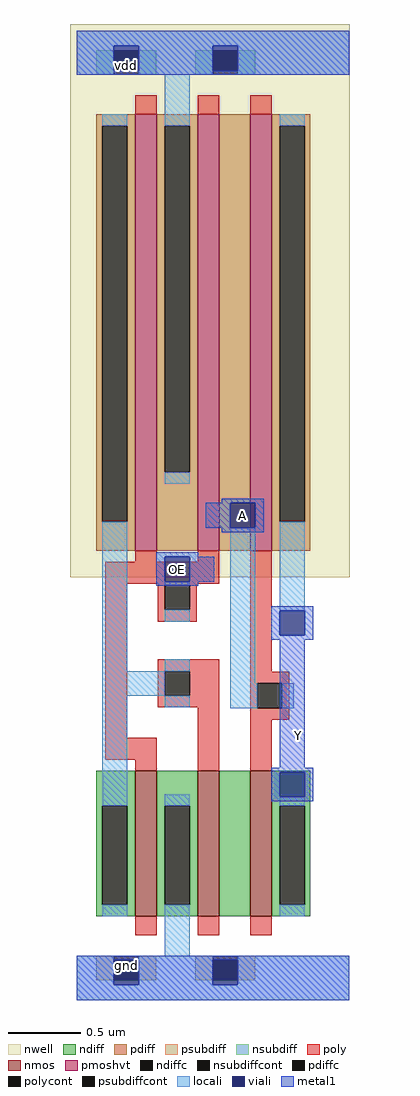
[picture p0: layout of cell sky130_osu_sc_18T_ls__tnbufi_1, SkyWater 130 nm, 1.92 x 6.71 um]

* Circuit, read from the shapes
.subckt sky130_osu_sc_18T_ls__tnbufi_1 Y A OE
XM1 gnd OE n1 gnd sky130_fd_pr__nfet_01v8 w=1 l=0.15
XM2 n2 n1 gnd gnd sky130_fd_pr__nfet_01v8 w=1 l=0.15
XM3 Y A n2 gnd sky130_fd_pr__nfet_01v8 w=1 l=0.15
XM4 vdd OE n1 vdd sky130_fd_pr__pfet_01v8_hvt w=3 l=0.15
XM5 n3 OE vdd vdd sky130_fd_pr__pfet_01v8_hvt w=3 l=0.15
XM6 Y A n3 vdd sky130_fd_pr__pfet_01v8_hvt w=3 l=0.15
.ends

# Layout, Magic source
magic
tech sky130A
magscale 1 2
<< nwell >>
rect -9 581 375 1341
<< nmos >>
rect 80 115 110 315
rect 166 115 196 315
rect 238 115 268 315
<< pmoshvt >>
rect 80 617 110 1217
rect 166 617 196 1217
rect 238 617 268 1217
<< ndiff >>
rect 27 267 80 315
rect 27 131 35 267
rect 69 131 80 267
rect 27 115 80 131
rect 110 267 166 315
rect 110 131 121 267
rect 155 131 166 267
rect 110 115 166 131
rect 196 115 238 315
rect 268 267 321 315
rect 268 131 279 267
rect 313 131 321 267
rect 268 115 321 131
<< pdiff >>
rect 27 1201 80 1217
rect 27 657 35 1201
rect 69 657 80 1201
rect 27 617 80 657
rect 110 1201 166 1217
rect 110 725 121 1201
rect 155 725 166 1201
rect 110 617 166 725
rect 196 617 238 1217
rect 268 1201 321 1217
rect 268 657 279 1201
rect 313 657 321 1201
rect 268 617 321 657
<< ndiffc >>
rect 35 131 69 267
rect 121 131 155 267
rect 279 131 313 267
<< pdiffc >>
rect 35 657 69 1201
rect 121 725 155 1201
rect 279 657 313 1201
<< psubdiff >>
rect 27 27 51 61
rect 85 27 109 61
rect 163 27 187 61
rect 221 27 245 61
<< nsubdiff >>
rect 27 1271 51 1305
rect 85 1271 109 1305
rect 163 1271 187 1305
rect 221 1271 245 1305
<< psubdiffcont >>
rect 51 27 85 61
rect 187 27 221 61
<< nsubdiffcont >>
rect 51 1271 85 1305
rect 187 1271 221 1305
<< poly >>
rect 80 1217 110 1243
rect 166 1217 196 1243
rect 238 1217 268 1243
rect 80 602 110 617
rect 166 602 196 617
rect 39 572 196 602
rect 39 360 69 572
rect 111 570 165 572
rect 111 536 121 570
rect 155 536 165 570
rect 111 520 165 536
rect 111 452 196 468
rect 111 418 121 452
rect 155 418 196 452
rect 111 402 196 418
rect 39 330 110 360
rect 80 315 110 330
rect 166 315 196 402
rect 238 451 268 617
rect 238 435 292 451
rect 238 401 248 435
rect 282 401 292 435
rect 238 385 292 401
rect 238 315 268 385
rect 80 89 110 115
rect 166 89 196 115
rect 238 89 268 115
<< polycont >>
rect 121 536 155 570
rect 121 418 155 452
rect 248 401 282 435
<< locali >>
rect 0 1311 374 1332
rect 0 1271 51 1311
rect 85 1271 187 1311
rect 221 1271 374 1311
rect 35 1201 69 1217
rect 121 1201 155 1271
rect 121 709 155 725
rect 279 1201 313 1217
rect 35 452 69 657
rect 121 570 155 575
rect 121 520 155 536
rect 121 452 155 468
rect 35 418 121 452
rect 35 267 69 418
rect 121 402 155 418
rect 211 435 245 649
rect 279 535 313 657
rect 211 401 248 435
rect 282 401 298 435
rect 35 115 69 131
rect 121 267 155 283
rect 121 61 155 131
rect 279 267 313 279
rect 279 115 313 131
rect 0 21 51 61
rect 85 21 187 61
rect 221 21 374 61
rect 0 0 374 21
<< viali >>
rect 51 1305 85 1311
rect 51 1277 85 1305
rect 187 1305 221 1311
rect 187 1277 221 1305
rect 211 649 245 683
rect 121 575 155 609
rect 279 501 313 535
rect 279 279 313 313
rect 51 27 85 55
rect 51 21 85 27
rect 187 27 221 55
rect 187 21 221 27
<< metal1 >>
rect 0 1311 374 1332
rect 0 1277 51 1311
rect 85 1277 187 1311
rect 221 1277 374 1311
rect 0 1271 374 1277
rect 199 683 257 689
rect 177 649 211 683
rect 245 649 257 683
rect 199 643 257 649
rect 109 609 167 615
rect 109 575 121 609
rect 155 575 189 609
rect 109 569 167 575
rect 267 535 325 541
rect 267 501 279 535
rect 313 501 325 535
rect 267 495 325 501
rect 279 319 313 495
rect 267 313 325 319
rect 267 279 279 313
rect 313 279 325 313
rect 267 273 325 279
rect 0 55 374 61
rect 0 21 51 55
rect 85 21 187 55
rect 221 21 374 55
rect 0 0 374 21
<< labels >>
rlabel metal1 305 364 305 364 1 Y
port 1 n
rlabel metal1 228 666 228 666 1 A
port 2 n
rlabel metal1 138 592 138 592 1 OE
port 3 n
rlabel viali 68 48 68 48 1 gnd
rlabel viali 68 1284 68 1284 1 vdd
<< end >>
